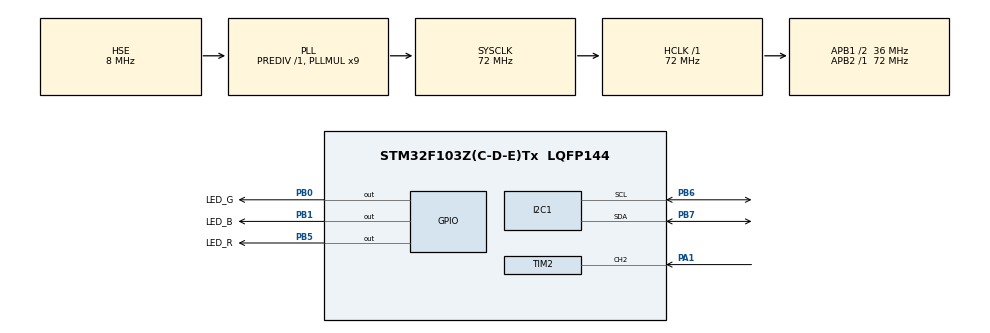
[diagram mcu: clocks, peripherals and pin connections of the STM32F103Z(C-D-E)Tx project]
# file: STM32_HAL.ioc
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I2C1.I2C_Mode=I2C_Fast
Mcu.Family=STM32F1
Mcu.Name=STM32F103Z(C-D-E)Tx
Mcu.Package=LQFP144
NVIC.PriorityGroup=NVIC_PRIORITYGROUP_4
OSC_IN.Mode=HSE-External-Oscillator
OSC_IN.Signal=RCC_OSC_IN
OSC_OUT.Mode=HSE-External-Oscillator
OSC_OUT.Signal=RCC_OSC_OUT
PA1.Signal=S_TIM2_CH2
PA13.Mode=JTAG_5_pins
PA13.Signal=SYS_JTMS-SWDIO
PA14.Mode=JTAG_5_pins
PA14.Signal=SYS_JTCK-SWCLK
PA15.Mode=JTAG_5_pins
PA15.Signal=SYS_JTDI
PB0.GPIO_Label=LED_G
PB0.GPIO_Speed=GPIO_SPEED_FREQ_HIGH
PB0.PinState=GPIO_PIN_SET
PB0.Signal=GPIO_Output
PB1.GPIO_Label=LED_B
PB1.GPIO_Speed=GPIO_SPEED_FREQ_HIGH
PB1.PinState=GPIO_PIN_SET
PB1.Signal=GPIO_Output
PB3.Mode=JTAG_5_pins
PB3.Signal=SYS_JTDO-TRACESWO
PB4.Mode=JTAG_5_pins
PB4.Signal=SYS_NJTRST
PB5.GPIO_Label=LED_R
PB5.GPIO_Speed=GPIO_SPEED_FREQ_HIGH
PB5.PinState=GPIO_PIN_SET
PB5.Signal=GPIO_Output
PB6.Mode=I2C
PB6.Signal=I2C1_SCL
PB7.Mode=I2C
PB7.Signal=I2C1_SDA
PC14-OSC32_IN.Mode=LSE-External-Oscillator
PC14-OSC32_IN.Signal=RCC_OSC32_IN
PC15-OSC32_OUT.Mode=LSE-External-Oscillator
PC15-OSC32_OUT.Signal=RCC_OSC32_OUT
ProjectManager.HeapSize=0x200
ProjectManager.StackSize=0x400
ProjectManager.TargetToolchain=CMake
RCC.AHBFreq_Value=72000000
RCC.APB1CLKDivider=RCC_HCLK_DIV2
RCC.APB1Freq_Value=36000000
RCC.APB1TimFreq_Value=72000000
RCC.APB2Freq_Value=72000000
RCC.APB2TimFreq_Value=72000000
RCC.HCLKFreq_Value=72000000
RCC.PLLMUL=RCC_PLL_MUL9
RCC.PLLSourceVirtual=RCC_PLLSOURCE_HSE
RCC.SYSCLKFreq_VALUE=72000000
RCC.SYSCLKSource=RCC_SYSCLKSOURCE_PLLCLK
RCC.USBFreq_Value=72000000
SH.S_TIM2_CH2.0=TIM2_CH2,Input_Capture2_from_TI2
TIM2.Channel-Input_Capture2_from_TI2=TIM_CHANNEL_2
TIM2.Prescaler=72-1
VP_TIM2_VS_ClockSourceINT.Mode=Internal
board=custom

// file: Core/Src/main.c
/* USER CODE BEGIN Header */
/**
  ******************************************************************************
  * @file           : main.c
  * @brief          : Main program body
  ******************************************************************************
  * @attention
  *
  * Copyright (c) 2024 STMicroelectronics.
  * All rights reserved.
  *
  * This software is licensed under terms that can be found in the LICENSE file
  * in the root directory of this software component.
  * If no LICENSE file comes with this software, it is provided AS-IS.
  *
  ******************************************************************************
  */
/* USER CODE END Header */
#include "main.h"
#include "i2c.h"
#include "tim.h"
#include "gpio.h"

/* USER CODE BEGIN Includes */

#include <stdio.h>
#include "uart.h"
#include "my_dma.h"
#include "oled.h"
#include "tpad.h"

/* USER CODE END Includes */

/* USER CODE BEGIN PM */

// R: PB5, G: PB0, B: PB1
// #define LED_G 0b111111111111111111111111 11111110
// #define LED_B 0b111111111111111111111111 11111101
// #define LED_R 0b111111111111111111111111 11011111

#define LED_R 0xFFFFFFDF
#define LED_G 0xFFFFFFFE
#define LED_B 0xFFFFFFFD

/* USER CODE END PM */

/* USER CODE BEGIN PV */
uint32_t ledColorArray[] = {LED_R, LED_G, LED_B};
// static uint8_t ledColorIndex = 0;

extern UART_HandleTypeDef uart1Handle;
extern DMA_HandleTypeDef uart1RxDMAHandle;
uint8_t uartRecvBuf[256];
uint32_t count = 0;
extern struct TPAD_Config tpadConfig;

/* USER CODE END PV */

void SystemClock_Config(void);

int main(void)
{

  /* MCU Configuration--------------------------------------------------------*/

  /* Reset of all peripherals, Initializes the Flash interface and the Systick. */
  HAL_Init();

  /* Configure the system clock */
  SystemClock_Config();

  /* Initialize all configured peripherals */
  MX_GPIO_Init();
  MX_I2C1_Init();
  MX_TIM2_Init();
  /* USER CODE BEGIN 2 */

  // UART1 and DMA
  HAL_StatusTypeDef dmaInitStat = InitUART1DMA();
  InitBoardUART();

  // OLED
  // 0x78: OLED i2c address
  OLED_ConfigDisplay(&hi2c1, 0x78);

  if (OLED_InitDisplay() < 0) {
    printf("init OLED screen failed!\r\n");
  } else {
    puts("OLED ok!");
  }

  /* USER CODE END 2 */

  /* Infinite loop */
  /* USER CODE BEGIN WHILE */

  puts("hello UARTx!");
  if (dmaInitStat == HAL_OK) {
    printf("DMA init success!\r\n");
  } else {
    printf("DMA init failed!\r\n");
  }

  __HAL_RCC_GPIOB_CLK_ENABLE();

  // recv data from UART in interrupt mode
  // HAL_UART_Receive_IT(&uart1Handle, uartRecvBuf, 16);

  // enable NVIC interrupt handle for USART1
  HAL_NVIC_SetPriority(USART1_IRQn, 5, 0);
  HAL_NVIC_EnableIRQ(USART1_IRQn);

  // enable NVIC interrupt handle for DMA1 rx
  HAL_NVIC_SetPriority(DMA1_Channel5_IRQn, 4, 0);
  HAL_NVIC_EnableIRQ(DMA1_Channel5_IRQn);

  // enable NVIC interrupt handle for DMA1 tx
  HAL_NVIC_SetPriority(DMA1_Channel4_IRQn, 4, 0);
  HAL_NVIC_EnableIRQ(DMA1_Channel4_IRQn);

  // dma tx test
#if 0
  char buf[] = "hello world DMA\r\n";
  HAL_UART_Transmit_DMA(&uart1Handle, (uint8_t *)buf, sizeof(buf));

  HAL_Delay(10);
  // dma rx
  // HAL_UART_Receive_DMA(&uart1Handle, (uint8_t*)uartRecvBuf, sizeof(uartRecvBuf));
  // start rx DMA
  HAL_UARTEx_ReceiveToIdle_DMA(&uart1Handle, (uint8_t*)uartRecvBuf, sizeof(uartRecvBuf));
  // disable DMA half-complete interrupt
  __HAL_DMA_DISABLE_IT(&uart1RxDMAHandle, DMA_IT_HT);
#endif

  // OLED_Test();
  TPAD_Init();

  char oledBuf[128] = {0};
  while (1)
  {
    /* USER CODE END WHILE */

    /* USER CODE BEGIN 3 */

    /*
    GPIOB->ODR = LED_R;
    HAL_Delay(500);
    GPIOB->ODR = LED_G;
    HAL_Delay(500);
    GPIOB->ODR = LED_B;
    HAL_Delay(500);
    count += 1;
    */

    OLED_NewFrame();
    uint32_t val = TPAD_Scan();
    sprintf(oledBuf, "TPAD: %lu us", val);
    OLED_ShowString(0, 0, oledBuf);
    if (val > tpadConfig.initChargeDelay + 10) {
      // printf("TPAD pressed!\r\n");
      OLED_ShowString(0, 16, "TPAD PRESSED!");
    } else {
      // printf("TPAD not pressed!\r\n");
      OLED_ShowString(0, 16, "TPAD NOT PRESSED!");
    }
    OLED_ShowFrame();
    HAL_Delay(300);
  }
  /* USER CODE END 3 */
}

void SystemClock_Config(void)
{
  RCC_OscInitTypeDef RCC_OscInitStruct = {0};
  RCC_ClkInitTypeDef RCC_ClkInitStruct = {0};

  /** Initializes the RCC Oscillators according to the specified parameters
  * in the RCC_OscInitTypeDef structure.
  */
  RCC_OscInitStruct.OscillatorType = RCC_OSCILLATORTYPE_HSE;
  RCC_OscInitStruct.HSEState = RCC_HSE_ON;
  RCC_OscInitStruct.HSEPredivValue = RCC_HSE_PREDIV_DIV1;
  RCC_OscInitStruct.HSIState = RCC_HSI_ON;
  RCC_OscInitStruct.PLL.PLLState = RCC_PLL_ON;
  RCC_OscInitStruct.PLL.PLLSource = RCC_PLLSOURCE_HSE;
  RCC_OscInitStruct.PLL.PLLMUL = RCC_PLL_MUL9;
  if (HAL_RCC_OscConfig(&RCC_OscInitStruct) != HAL_OK)
  {
    Error_Handler();
  }

  /** Initializes the CPU, AHB and APB buses clocks
  */
  RCC_ClkInitStruct.ClockType = RCC_CLOCKTYPE_HCLK|RCC_CLOCKTYPE_SYSCLK
                              |RCC_CLOCKTYPE_PCLK1|RCC_CLOCKTYPE_PCLK2;
  RCC_ClkInitStruct.SYSCLKSource = RCC_SYSCLKSOURCE_PLLCLK;
  RCC_ClkInitStruct.AHBCLKDivider = RCC_SYSCLK_DIV1;
  RCC_ClkInitStruct.APB1CLKDivider = RCC_HCLK_DIV2;
  RCC_ClkInitStruct.APB2CLKDivider = RCC_HCLK_DIV1;

  if (HAL_RCC_ClockConfig(&RCC_ClkInitStruct, FLASH_LATENCY_2) != HAL_OK)
  {
    Error_Handler();
  }
}

/* USER CODE BEGIN 4 */
int __io_putchar(int ch)
{
    HAL_UART_Transmit(&uart1Handle, (uint8_t *)&ch, 1, HAL_MAX_DELAY);
    return 0;
}
/* USER CODE END 4 */

void Error_Handler(void)
{
  __disable_irq();
  while (1)
  {
  }
}
